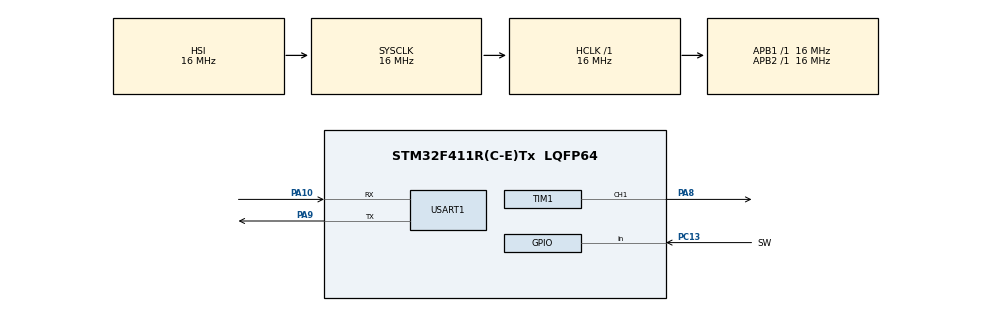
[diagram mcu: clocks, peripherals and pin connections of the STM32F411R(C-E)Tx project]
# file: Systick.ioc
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Mcu.Family=STM32F4
Mcu.Name=STM32F411R(C-E)Tx
Mcu.Package=LQFP64
NVIC.PriorityGroup=NVIC_PRIORITYGROUP_4
PA10.Mode=Asynchronous
PA10.Signal=USART1_RX
PA8.Signal=S_TIM1_CH1
PA9.Mode=Asynchronous
PA9.Signal=USART1_TX
PC13-ANTI_TAMP.GPIO_Label=SW
PC13-ANTI_TAMP.GPIO_PuPd=GPIO_PULLUP
PC13-ANTI_TAMP.Signal=GPIO_Input
ProjectManager.HeapSize=0x200
ProjectManager.StackSize=0x400
ProjectManager.TargetToolchain=STM32CubeIDE
RCC.AHBFreq_Value=16000000
RCC.APB1Freq_Value=16000000
RCC.APB2Freq_Value=16000000
RCC.CortexFreq_Value=16000000
RCC.HSE_VALUE=25000000
RCC.HSI_VALUE=16000000
RCC.LSE_VALUE=32768
RCC.SYSCLKFreq_VALUE=16000000
RCC.VCOOutputFreq_Value=192000000
SH.S_TIM1_CH1.0=TIM1_CH1,PWM Generation1 CH1
TIM1.Channel-PWM\ Generation1\ CH1=TIM_CHANNEL_1
TIM1.Period=999
TIM1.Prescaler=15
TIM1.Pulse-PWM\ Generation1\ CH1=499
USART1.VirtualMode=VM_ASYNC
VP_TIM1_VS_ClockSourceINT.Mode=Internal
board=custom

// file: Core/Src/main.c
/* USER CODE BEGIN Header */
/**
  ******************************************************************************
  * @file           : main.c
  * @brief          : Main program body
  ******************************************************************************
  * @attention
  *
  * Copyright (c) 2023 STMicroelectronics.
  * All rights reserved.
  *
  * This software is licensed under terms that can be found in the LICENSE file
  * in the root directory of this software component.
  * If no LICENSE file comes with this software, it is provided AS-IS.
  *
  ******************************************************************************
  */
/* USER CODE END Header */
#include "main.h"

/* USER CODE BEGIN Includes */
#include "uart.h"
/* USER CODE END Includes */

TIM_HandleTypeDef htim1;

UART_HandleTypeDef huart1;

void SystemClock_Config(void);
static void MX_GPIO_Init(void);
static void MX_TIM1_Init(void);
static void MX_USART1_UART_Init(void);

/* USER CODE BEGIN 0 */
// �?�작주기용 변수
int taskA;
int taskB;
// 스위치용 변수
uint32_t	bufferSwitch;	// 스위치�?� �?태를 1ms마다 저장
uint8_t		stateSwitch;	// 스위치�?� �?태를 결정
// 1ms마다 호출
void callbackSystick() {
	// 스위치 채터�? 제거
	bufferSwitch = bufferSwitch << 1;
	bufferSwitch += HAL_GPIO_ReadPin(SW_GPIO_Port, SW_Pin);
	if(bufferSwitch == 0) stateSwitch = 0;
	if(bufferSwitch == 0xffffffff) stateSwitch = 1;
	// �?�작 주기 카운트
	if(taskA > 0) taskA--;
	if(taskB > 0) taskB--;
}
void enableBuzzer() {
	HAL_TIM_PWM_Start(&htim1, TIM_CHANNEL_1);
}
void disableBuzzer() {
	HAL_TIM_PWM_Stop(&htim1, TIM_CHANNEL_1);
}
/* USER CODE END 0 */

int main(void)
{

  /* MCU Configuration--------------------------------------------------------*/

  /* Reset of all peripherals, Initializes the Flash interface and the Systick. */
  HAL_Init();

  /* Configure the system clock */
  SystemClock_Config();

  /* Initialize all configured peripherals */
  MX_GPIO_Init();
  MX_TIM1_Init();
  MX_USART1_UART_Init();
  /* USER CODE BEGIN 2 */
  int count = 0;
  /* USER CODE END 2 */

  /* Infinite loop */
  while (1)
  {

    /* USER CODE BEGIN 3 */
  	static int oldSwitch, curSwitch;
  	curSwitch = stateSwitch;

  	if(oldSwitch != curSwitch) {
  		if(curSwitch == 0) {
  			// 스위치를 누름
    		count++;
    		printf("count = %d\n", count);
  		}
  		else {
  			// 스위치를 놓�?�
  		}
  		oldSwitch = curSwitch;
  	}
  	// task A
  	if(taskA == 0) {
  		taskA = 1300;// taskA�?� 실행 주기를 ms단위로 기�?
  		if(count > 0) {
  			count--;
    		printf("count = %d\n", count);
  		}
  	}
  	// task B
  	if(taskB == 0) {
  		taskB = 100;// taskB�?� 실행 주기를 ms단위로 기�?
  		static _Bool flagStateBuzzer;
  		flagStateBuzzer ^= 1;
  		flagStateBuzzer == 0 ? enableBuzzer() : disableBuzzer();
  	}
  }
  /* USER CODE END 3 */
}

void SystemClock_Config(void)
{
  RCC_OscInitTypeDef RCC_OscInitStruct = {0};
  RCC_ClkInitTypeDef RCC_ClkInitStruct = {0};

  /** Configure the main internal regulator output voltage
  */
  __HAL_RCC_PWR_CLK_ENABLE();
  __HAL_PWR_VOLTAGESCALING_CONFIG(PWR_REGULATOR_VOLTAGE_SCALE1);

  /** Initializes the RCC Oscillators according to the specified parameters
  * in the RCC_OscInitTypeDef structure.
  */
  RCC_OscInitStruct.OscillatorType = RCC_OSCILLATORTYPE_HSI;
  RCC_OscInitStruct.HSIState = RCC_HSI_ON;
  RCC_OscInitStruct.HSICalibrationValue = RCC_HSICALIBRATION_DEFAULT;
  RCC_OscInitStruct.PLL.PLLState = RCC_PLL_NONE;
  if (HAL_RCC_OscConfig(&RCC_OscInitStruct) != HAL_OK)
  {
    Error_Handler();
  }

  /** Initializes the CPU, AHB and APB buses clocks
  */
  RCC_ClkInitStruct.ClockType = RCC_CLOCKTYPE_HCLK|RCC_CLOCKTYPE_SYSCLK
                              |RCC_CLOCKTYPE_PCLK1|RCC_CLOCKTYPE_PCLK2;
  RCC_ClkInitStruct.SYSCLKSource = RCC_SYSCLKSOURCE_HSI;
  RCC_ClkInitStruct.AHBCLKDivider = RCC_SYSCLK_DIV1;
  RCC_ClkInitStruct.APB1CLKDivider = RCC_HCLK_DIV1;
  RCC_ClkInitStruct.APB2CLKDivider = RCC_HCLK_DIV1;

  if (HAL_RCC_ClockConfig(&RCC_ClkInitStruct, FLASH_LATENCY_0) != HAL_OK)
  {
    Error_Handler();
  }
}

static void MX_TIM1_Init(void)
{

  TIM_ClockConfigTypeDef sClockSourceConfig = {0};
  TIM_MasterConfigTypeDef sMasterConfig = {0};
  TIM_OC_InitTypeDef sConfigOC = {0};
  TIM_BreakDeadTimeConfigTypeDef sBreakDeadTimeConfig = {0};

  htim1.Instance = TIM1;
  htim1.Init.Prescaler = 15;
  htim1.Init.CounterMode = TIM_COUNTERMODE_UP;
  htim1.Init.Period = 999;
  htim1.Init.ClockDivision = TIM_CLOCKDIVISION_DIV1;
  htim1.Init.RepetitionCounter = 0;
  htim1.Init.AutoReloadPreload = TIM_AUTORELOAD_PRELOAD_DISABLE;
  if (HAL_TIM_Base_Init(&htim1) != HAL_OK)
  {
    Error_Handler();
  }
  sClockSourceConfig.ClockSource = TIM_CLOCKSOURCE_INTERNAL;
  if (HAL_TIM_ConfigClockSource(&htim1, &sClockSourceConfig) != HAL_OK)
  {
    Error_Handler();
  }
  if (HAL_TIM_PWM_Init(&htim1) != HAL_OK)
  {
    Error_Handler();
  }
  sMasterConfig.MasterOutputTrigger = TIM_TRGO_RESET;
  sMasterConfig.MasterSlaveMode = TIM_MASTERSLAVEMODE_DISABLE;
  if (HAL_TIMEx_MasterConfigSynchronization(&htim1, &sMasterConfig) != HAL_OK)
  {
    Error_Handler();
  }
  sConfigOC.OCMode = TIM_OCMODE_PWM1;
  sConfigOC.Pulse = 499;
  sConfigOC.OCPolarity = TIM_OCPOLARITY_HIGH;
  sConfigOC.OCNPolarity = TIM_OCNPOLARITY_HIGH;
  sConfigOC.OCFastMode = TIM_OCFAST_DISABLE;
  sConfigOC.OCIdleState = TIM_OCIDLESTATE_RESET;
  sConfigOC.OCNIdleState = TIM_OCNIDLESTATE_RESET;
  if (HAL_TIM_PWM_ConfigChannel(&htim1, &sConfigOC, TIM_CHANNEL_1) != HAL_OK)
  {
    Error_Handler();
  }
  sBreakDeadTimeConfig.OffStateRunMode = TIM_OSSR_DISABLE;
  sBreakDeadTimeConfig.OffStateIDLEMode = TIM_OSSI_DISABLE;
  sBreakDeadTimeConfig.LockLevel = TIM_LOCKLEVEL_OFF;
  sBreakDeadTimeConfig.DeadTime = 0;
  sBreakDeadTimeConfig.BreakState = TIM_BREAK_DISABLE;
  sBreakDeadTimeConfig.BreakPolarity = TIM_BREAKPOLARITY_HIGH;
  sBreakDeadTimeConfig.AutomaticOutput = TIM_AUTOMATICOUTPUT_DISABLE;
  if (HAL_TIMEx_ConfigBreakDeadTime(&htim1, &sBreakDeadTimeConfig) != HAL_OK)
  {
    Error_Handler();
  }
  HAL_TIM_MspPostInit(&htim1);

}

static void MX_USART1_UART_Init(void)
{

  huart1.Instance = USART1;
  huart1.Init.BaudRate = 115200;
  huart1.Init.WordLength = UART_WORDLENGTH_8B;
  huart1.Init.StopBits = UART_STOPBITS_1;
  huart1.Init.Parity = UART_PARITY_NONE;
  huart1.Init.Mode = UART_MODE_TX_RX;
  huart1.Init.HwFlowCtl = UART_HWCONTROL_NONE;
  huart1.Init.OverSampling = UART_OVERSAMPLING_16;
  if (HAL_UART_Init(&huart1) != HAL_OK)
  {
    Error_Handler();
  }

}

static void MX_GPIO_Init(void)
{
  GPIO_InitTypeDef GPIO_InitStruct = {0};

  /* GPIO Ports Clock Enable */
  __HAL_RCC_GPIOC_CLK_ENABLE();
  __HAL_RCC_GPIOA_CLK_ENABLE();

  /*Configure GPIO pin : SW_Pin */
  GPIO_InitStruct.Pin = SW_Pin;
  GPIO_InitStruct.Mode = GPIO_MODE_INPUT;
  GPIO_InitStruct.Pull = GPIO_PULLUP;
  HAL_GPIO_Init(SW_GPIO_Port, &GPIO_InitStruct);

}

void Error_Handler(void)
{
  __disable_irq();
  while (1)
  {
  }
}
